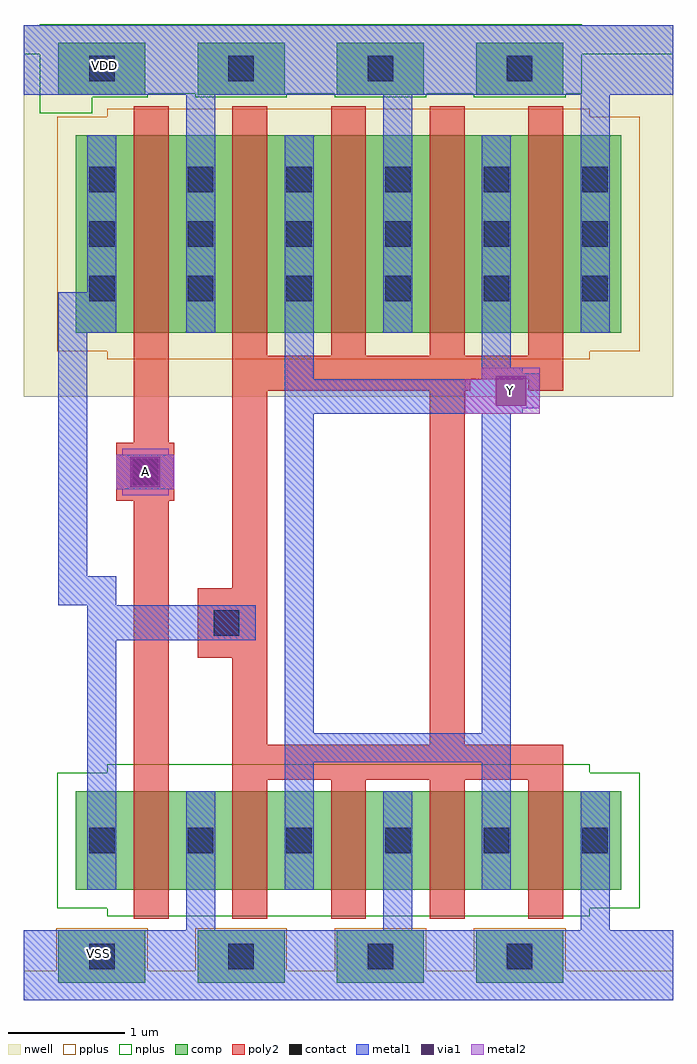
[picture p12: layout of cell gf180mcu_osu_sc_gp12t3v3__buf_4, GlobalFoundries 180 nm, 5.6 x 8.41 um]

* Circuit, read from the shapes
.subckt gf180mcu_osu_sc_gp12t3v3__buf_4 A VDD VSS Y
XM1 VSS A n1 VSS nfet_03v3 w=0.85u l=0.3u
XM2 Y n1 VSS VSS nfet_03v3 w=0.85u l=0.3u m=4
XM3 VDD A n1 VDD pfet_03v3 w=1.7u l=0.3u
XM4 Y n1 VDD VDD pfet_03v3 w=1.7u l=0.3u m=4
.ends

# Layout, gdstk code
import gdstk
lib = gdstk.Library(unit=1e-6, precision=1e-09)
def R(c, l, rs):  # rectangles x0, y0, x1, y1
    for r in rs: c.add(gdstk.rectangle(r[:2], r[2:], *l))
def A(c, l, x, y, w, h, nx, ny, dx, dy):  # array of equal rectangles
    R(c, l, [(x+i*dx, y+j*dy, x+i*dx+w, y+j*dy+h) for i in range(nx) for j in range(ny)])
nwell = (21, 0)
comp = (22, 0)
poly2 = (30, 0)
pplus = (31, 0)
nplus = (32, 0)
contact = (33, 0)
metal1 = (34, 0)
via1 = (35, 0)
metal2 = (36, 0)

gf180mcu_osu_sc_gp12t3v3 = lib.new_cell('gf180mcu_osu_sc_gp12t3v3__buf_4')
R(gf180mcu_osu_sc_gp12t3v3, nwell, [(0,5.2,5.6,8.4)])
A(gf180mcu_osu_sc_gp12t3v3, comp, 0.3, 0.15, 0.75, 0.45, 4, 2, 1.2, 7.65)
R(gf180mcu_osu_sc_gp12t3v3, comp, [(0.45,0.95,5.15,1.8), (0.45,5.75,5.15,7.45)])
A(gf180mcu_osu_sc_gp12t3v3, poly2, 1.8, 0.7, 0.3, 1.2, 4, 1, 0.85, 0)
A(gf180mcu_osu_sc_gp12t3v3, poly2, 1.8, 5.55, 0.3, 2.15, 4, 1, 0.85, 0)
R(gf180mcu_osu_sc_gp12t3v3, poly2, [(0.95,0.7,1.25,4.3), (1.8,1.9,4.65,2.2), (1.8,2.2,2.1,2.95), (3.5,2.2,3.8,5.25), (1.5,2.95,2.1,3.55), (1.8,3.55,2.1,5.25), (0.8,4.3,1.3,4.8), (0.95,4.8,1.25,7.7), (1.8,5.25,3.85,5.35), (4.35,5.25,4.65,5.35), (1.8,5.35,4.65,5.55)])
A(gf180mcu_osu_sc_gp12t3v3, pplus, 0.28, 0.13, 0.79, 0.49, 4, 1, 1.2, 0)
R(gf180mcu_osu_sc_gp12t3v3, pplus, [(0,0,5.6,0.25), (0.72,5.52,4.88,5.59), (0.29,5.59,5.31,7.61), (0.72,7.61,4.88,7.68)])
A(gf180mcu_osu_sc_gp12t3v3, nplus, 1.48, 7.78, 0.79, 0.03, 3, 1, 1.2, 0)
R(gf180mcu_osu_sc_gp12t3v3, nplus, [(0.72,0.72,4.88,0.79), (0.29,0.79,5.31,1.96), (0.72,1.96,4.88,2.03), (0.14,7.64,0.59,7.78), (0.14,7.78,1.07,7.81), (0.14,7.81,4.81,8.15), (0,8.15,5.6,8.4), (0,8.15,5.6,8.4), (0.14,8.4,4.81,8.41)])
A(gf180mcu_osu_sc_gp12t3v3, contact, 0.565, 0.265, 0.22, 0.22, 4, 2, 1.2, 7.65)
A(gf180mcu_osu_sc_gp12t3v3, contact, 0.565, 1.265, 0.22, 0.22, 6, 2, 0.85, 4.755)
A(gf180mcu_osu_sc_gp12t3v3, contact, 0.565, 6.49, 0.22, 0.22, 6, 2, 0.85, 0.47)
R(gf180mcu_osu_sc_gp12t3v3, contact, [(1.64,3.14,1.86,3.36), (0.94,4.44,1.16,4.66)])
A(gf180mcu_osu_sc_gp12t3v3, metal1, 1.4, 0.6, 0.25, 1.2, 3, 1, 1.7, 0)
A(gf180mcu_osu_sc_gp12t3v3, metal1, 1.4, 5.75, 0.25, 2.05, 3, 1, 1.7, 0)
R(gf180mcu_osu_sc_gp12t3v3, metal1, [(0,0,5.6,0.6), (0.55,0.95,0.8,3.1), (2.25,0.95,2.5,2.05), (3.95,0.95,4.2,2.05), (2.25,2.05,4.2,2.3), (2.25,2.3,2.5,5.05), (3.95,2.3,4.2,5.05), (0.55,3.1,2,3.4), (0.3,3.4,0.8,3.65), (0.3,3.65,0.55,5.75), (0.8,4.4,1.3,4.7), (2.25,5.05,4.3,5.1), (2.25,5.1,4.45,5.35), (2.25,5.35,2.5,7.45), (3.95,5.35,4.45,5.4), (3.95,5.4,4.3,5.45), (3.95,5.45,4.2,7.45), (0.3,5.75,0.8,6.1), (0.55,6.1,0.8,7.45), (0,7.8,5.6,8.4)])
R(gf180mcu_osu_sc_gp12t3v3, via1, [(0.92,4.42,1.18,4.68), (4.07,5.12,4.33,5.38)])
R(gf180mcu_osu_sc_gp12t3v3, metal2, [(0.85,4.35,1.25,4.4), (0.8,4.4,1.3,4.7), (0.85,4.7,1.25,4.75), (3.8,5.05,4.45,5.35), (3.95,5.35,4.45,5.45)])
gf180mcu_osu_sc_gp12t3v3.add(gdstk.Label('A', (1.05,4.55), layer=36, texttype=10))
gf180mcu_osu_sc_gp12t3v3.add(gdstk.Label('Y', (4.2,5.25), layer=36, texttype=10))
gf180mcu_osu_sc_gp12t3v3.add(gdstk.Label('VDD', (0.7,8.05), layer=34, texttype=10))
gf180mcu_osu_sc_gp12t3v3.add(gdstk.Label('VSS', (0.65,0.4), layer=34, texttype=10))

lib.write_gds('gf180mcu_osu_sc_gp12t3v3__buf_4.gds')
